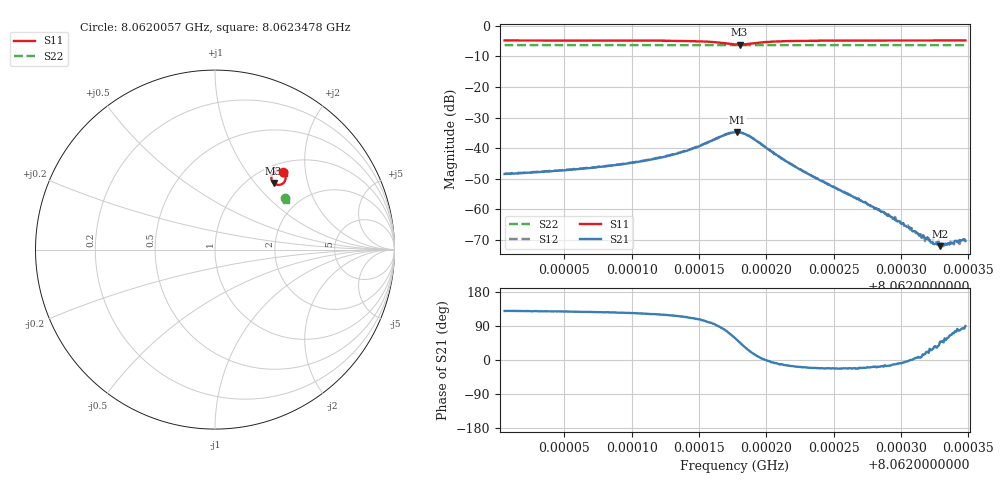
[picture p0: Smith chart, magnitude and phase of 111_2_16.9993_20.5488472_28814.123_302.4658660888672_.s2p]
#  HZ  S  RI  R  50.00
! Rohde & Schwarz Vector Network Analyzer
! Rohde-Schwarz,ZNB20-2Port,1311601062101988,3.16
! Created: UTC 3/20/2024, 10:57:02 PM
! freq[Hz]  re:S11  im:S11  re:S21  im:S21  re:S12  im:S12  re:S22  im:S22
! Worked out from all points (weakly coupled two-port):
!   401 points, 8.0620057 GHz to 8.0623478 GHz, reference 50 ohm
!   highest |S21| = -34.76 dB at 8.0621785 GHz (marker M1); lowest = -72.0 dB at 8.062329 GHz (marker M2)
!   lowest |S11| = -6.1 dB at 8.0621802 GHz (marker M3), VSWR 2.95, Z = 63.9 + j62.7 ohm
!   |S11| at or under -10 dB: nowhere
!   |S22| runs from -6.4 to -6.3 dB; largest |S21 - S12| = 0.0013
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8.06200568e9  0.3769 0.435  -0.00241 0.00294  -0.00226 0.0031  0.3873 0.2897
8.06206299e9  0.3826 0.4292  -0.00277 0.00369  -0.00263 0.00387  0.3892 0.2868
8.06209207e9  0.386 0.4243  -0.00311 0.00448  -0.00289 0.00469  0.3902 0.2851
8.0621203e9  0.3905 0.4165  -0.00351 0.00598  -0.00315 0.00625  0.3912 0.2833
8.06214083e9  0.3934 0.4046  -0.00362 0.00829  -0.00311 0.00871  0.3918 0.2818
8.06216221e9  0.3856 0.3762  -0.000742 0.014  5.38e-05 0.0144  0.3917 0.2797
8.06217077e9  0.3648 0.3619  0.00413 0.0164  0.00535 0.0163  0.3908 0.2793
8.06217675e9  0.3397 0.3625  0.00971 0.0155  0.0108 0.0149  0.3899 0.2792
8.06217846e9  0.3326 0.3662  0.0112 0.0145  0.0122 0.0139  0.3898 0.2795
8.06218018e9  0.3262 0.3711  0.0125 0.0132  0.0133 0.0124  0.3897 0.2798
8.06218873e9  0.3138 0.4049  0.0142 0.00535  0.0146 0.00447  0.3899 0.2809
8.06221268e9  0.3458 0.4396  0.00638 -0.00146  0.00631 -0.00184  0.3924 0.2808
8.06223406e9  0.3613 0.4398  0.00327 -0.00125  0.00322 -0.00142  0.3939 0.2797
8.06229137e9  0.3764 0.434  0.000765 -0.000198  0.000758 -0.000236  0.3962 0.2764
8.06230677e9  0.3785 0.4325  0.000505 -1.42e-06  0.000463 -7.36e-05  0.3968 0.2758
8.06231704e9  0.3799 0.4317  0.000337 8.68e-05  0.000363 8.4e-05  0.397 0.275
8.06232388e9  0.3806 0.4312  0.000237 0.000136  0.000282 0.000158  0.3974 0.2748
8.06232559e9  0.3808 0.4311  0.000221 0.000164  0.000247 0.00015  0.3974 0.2749
8.06232901e9  0.3812 0.4309  0.000166 0.000188  0.000214 0.00019  0.3975 0.2747
8.06233243e9  0.3816 0.4305  0.000144 0.000222  0.000181 0.000208  0.3975 0.2744
8.06234526e9  0.3829 0.4297  3.92e-05 0.00031  6.61e-05 0.00031  0.398 0.2737
8.06234783e9  0.3833 0.4294  2.14e-06 0.000305  3.15e-06 0.000334  0.3981 0.2736
